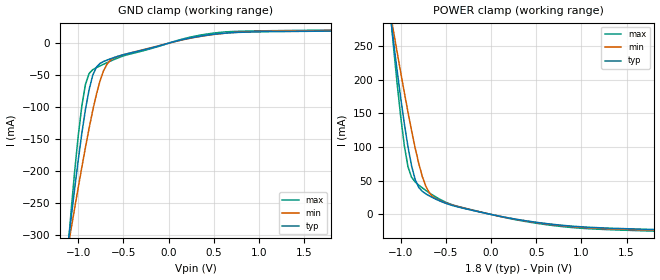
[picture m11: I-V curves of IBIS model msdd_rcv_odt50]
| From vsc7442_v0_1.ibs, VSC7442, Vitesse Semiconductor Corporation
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|   Model msdd_rcv_odt50
[Model]  msdd_rcv_odt50
Model_type Input
Polarity   Non-Inverting
Vinl =   0.6500V
Vinh =   1.1500V
C_comp   2.0000pF   1.8000pF   2.2000pF
[Temperature Range]   25.0000   0.1250k   -40.0000
[Pullup Reference]   1.8000V   1.7000V   1.9000V
[Pulldown Reference]   0.0V   0.0V   0.0V
[POWER Clamp Reference]   1.8000V   1.7000V   1.9000V
[GND Clamp Reference]   0.0V   0.0V   0.0V
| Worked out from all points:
|   GND clamp passes 1 mA (typ) near -0.03 V on its own axis
|   POWER clamp passes 1 mA (typ) near -0.03 V on its own axis
[GND_clamp]
|Voltage   I(typ)   I(min)   I(max)
-1.8V     -1.193A    -913.7mA   -1.597A
-1.12V    -324.5mA   -325.4mA   -333.1mA
-1.08V    -275.8mA   -291.9mA   -265.1mA
-1V       -183.1mA   -226.2mA   -145.1mA
-920mV    -103.7mA   -163.2mA   -64.52mA
-840mV    -50.51mA   -105.8mA   -41.5mA
-760mV    -31.76mA   -59.6mA    -35.65mA
-680mV    -26.35mA   -32.43mA   -30.37mA
-600mV    -22.26mA   -22.77mA   -25.35mA
160mV     5.762mA    5.413mA    6.738mA
680mV     16.29mA    16.34mA    18.13mA
1.8V      19mA       19.86mA    20.54mA
[POWER_clamp]
| voltage   I(typ)   I(min)   I(max)
-1.8V     1.1A       850.2mA    1.456A
-1.12V    300.9mA    302.8mA    307.9mA
-1.08V    256.6mA    271.7mA    248.9mA
-1V       172.7mA    210.5mA    144.8mA
-960mV    134.6mA    180.8mA    102mA
-920mV    100.6mA    151.9mA    70.89mA
-840mV    51.59mA    98.49mA    48.18mA
-720mV    30.37mA    41.04mA    35.36mA
-560mV    19.59mA    19.93mA    21.99mA
160mV     -4.292mA   -4.364mA   -4.809mA
880mV     -17.18mA   -17.84mA   -19.22mA
1.8V      -22.25mA   -23.37mA   -24.7mA
